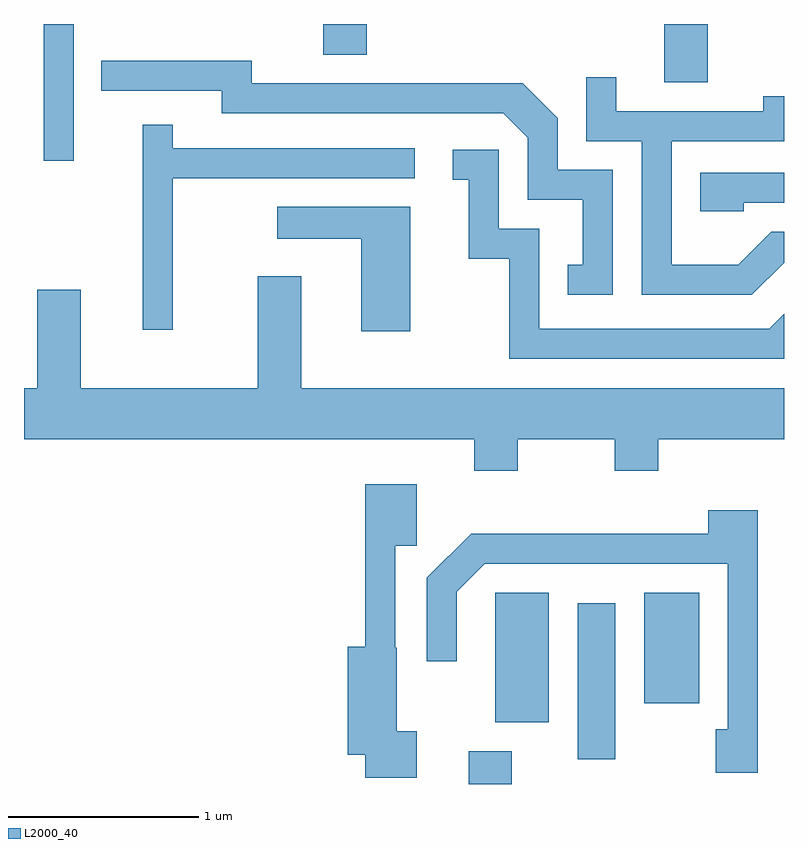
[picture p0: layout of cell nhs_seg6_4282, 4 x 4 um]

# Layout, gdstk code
import gdstk
lib = gdstk.Library(unit=1e-6, precision=1e-09)
def R(c, l, rs):  # rectangles x0, y0, x1, y1
    for r in rs: c.add(gdstk.rectangle(r[:2], r[2:], *l))
def P(c, l, *ps):  # polygons
    for p in ps: c.add(gdstk.Polygon(p, *l))
L2000_40 = (2000, 40)

nhs_seg6_4282 = lib.new_cell('nhs_seg6_4282')
R(nhs_seg6_4282, L2000_40, [(317.951,1608.162,318.179,1608.334), (318.526,1608.291,318.724,1609.114), (318.091,1608.486,318.374,1609.169), (318.876,1608.586,319.164,1609.169), (315.716,1611.443,315.874,1612.162), (318.981,1611.856,319.209,1612.162), (317.186,1612.001,317.414,1612.162)])
P(nhs_seg6_4282, L2000_40, [(318.709,1611.394),(318.419,1611.394),(318.419,1611.667),(318.237,1611.849),(316.809,1611.849),(316.809,1611.969),(316.018,1611.969),(316.018,1611.811),(316.651,1611.811),(316.651,1611.691),(318.134,1611.691),(318.261,1611.564),(318.261,1611.236),(318.551,1611.236),(318.551,1610.894),(318.473,1610.894),(318.473,1610.736),(318.709,1610.736)],
  [(319.611,1610.905),(319.611,1611.069),(319.544,1611.069),(319.369,1610.894),(319.019,1610.894),(319.019,1611.546),(319.611,1611.546),(319.611,1611.783),(319.501,1611.783),(319.501,1611.704),(318.729,1611.704),(318.729,1611.883),(318.571,1611.883),(318.571,1611.546),(318.861,1611.546),(318.861,1610.736),(319.442,1610.736)],
  [(316.394,1611.351),(317.668,1611.351),(317.668,1611.509),(316.394,1611.509),(316.394,1611.633),(316.236,1611.633),(316.236,1610.553),(316.394,1610.553)],
  [(319.611,1610.636),(319.534,1610.559),(318.324,1610.559),(318.324,1611.084),(318.109,1611.084),(318.109,1611.499),(317.868,1611.499),(317.868,1611.341),(317.951,1611.341),(317.951,1610.926),(318.166,1610.926),(318.166,1610.401),(319.611,1610.401)],
  [(319.399,1611.221),(319.611,1611.221),(319.611,1611.379),(319.171,1611.379),(319.171,1611.176),(319.399,1611.176)],
  [(317.644,1611.199),(316.943,1611.199),(316.943,1611.031),(317.386,1611.031),(317.386,1610.546),(317.644,1610.546)],
  [(318.209,1609.976),(318.721,1609.976),(318.721,1609.811),(318.949,1609.811),(318.949,1609.976),(319.611,1609.976),(319.611,1610.244),(317.069,1610.244),(317.069,1610.834),(316.841,1610.834),(316.841,1610.244),(315.909,1610.244),(315.909,1610.764),(315.681,1610.764),(315.681,1610.244),(315.611,1610.244),(315.611,1609.976),(317.981,1609.976),(317.981,1609.811),(318.209,1609.811)],
  [(317.679,1608.439),(317.574,1608.439),(317.574,1608.88),(317.564,1608.88),(317.564,1609.416),(317.679,1609.416),(317.679,1609.739),(317.406,1609.739),(317.406,1608.884),(317.316,1608.884),(317.316,1608.316),(317.406,1608.316),(317.406,1608.196),(317.679,1608.196)],
  [(319.474,1609.604),(319.211,1609.604),(319.211,1609.479),(317.964,1609.479),(317.731,1609.247),(317.731,1608.808),(317.889,1608.808),(317.889,1609.174),(318.037,1609.321),(319.316,1609.321),(319.316,1608.449),(319.251,1608.449),(319.251,1608.221),(319.474,1608.221)])

lib.write_gds('nhs_seg6_4282.gds')
